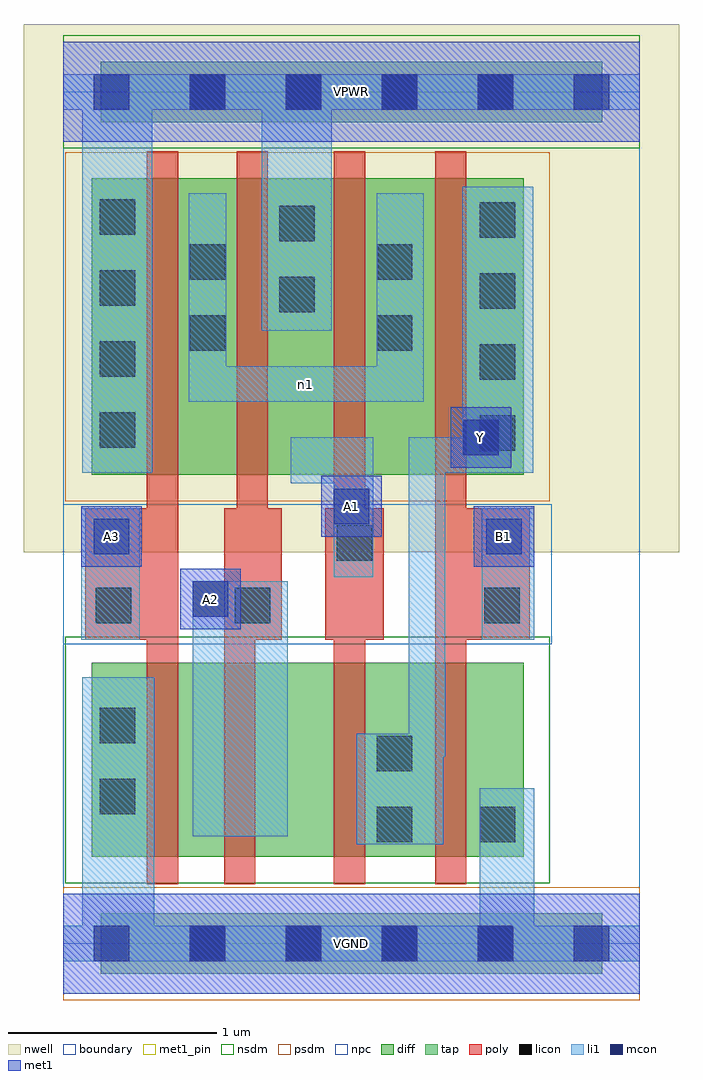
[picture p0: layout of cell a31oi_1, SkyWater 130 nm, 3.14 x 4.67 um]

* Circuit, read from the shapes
.subckt a31oi_1 A1 A2 A3 B1 VGND VPWR Y n1
XM1 n2 A3 VGND VGND sky130_fd_pr__nfet_01v8 w=0.93 l=0.15
XM2 n3 A2 n2 VGND sky130_fd_pr__nfet_01v8 w=0.93 l=0.15
XM3 Y A1 n3 VGND sky130_fd_pr__nfet_01v8 w=0.93 l=0.15
XM4 VGND B1 Y VGND sky130_fd_pr__nfet_01v8 w=0.93 l=0.15
XM5 n1 A3 VPWR VPWR sky130_fd_pr__pfet_01v8 w=1.42 l=0.15
XM6 VPWR A2 n1 VPWR sky130_fd_pr__pfet_01v8 w=1.42 l=0.15
XM7 n1 A1 VPWR VPWR sky130_fd_pr__pfet_01v8 w=1.42 l=0.15
XM8 Y B1 n1 VPWR sky130_fd_pr__pfet_01v8 w=1.42 l=0.15
.ends

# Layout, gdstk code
import gdstk
lib = gdstk.Library(unit=1e-6, precision=1e-09)
def R(c, l, rs):  # rectangles x0, y0, x1, y1
    for r in rs: c.add(gdstk.rectangle(r[:2], r[2:], *l))
def A(c, l, x, y, w, h, nx, ny, dx, dy):  # array of equal rectangles
    R(c, l, [(x+i*dx, y+j*dy, x+i*dx+w, y+j*dy+h) for i in range(nx) for j in range(ny)])
nwell = (64, 20)
diff = (65, 20)
tap = (65, 44)
poly = (66, 20)
licon = (66, 44)
li1 = (67, 20)
mcon = (67, 44)
met1_pin = (68, 16)
met1 = (68, 20)
nsdm = (93, 44)
psdm = (94, 20)
npc = (95, 20)
boundary = (235, 4)

a31oi_1 = lib.new_cell('a31oi_1')
R(a31oi_1, nwell, [(-0.19,1.875,2.95,4.405), (0,1.875,2.76,4.405)])
R(a31oi_1, diff, [(0.135,0.415,2.205,1.345), (0.135,2.245,2.205,3.665)])
R(a31oi_1, tap, [(0.18,-0.145,2.58,0.145), (0.18,3.935,2.58,4.225)])
R(a31oi_1, poly, [(0.4,0.285,0.55,3.795), (0.77,0.285,0.92,2.085), (1.295,0.285,1.445,3.795), (1.78,0.285,1.93,3.795), (0.105,1.455,0.55,2.085), (0.77,1.455,1.045,2.085), (0.83,1.455,0.98,3.795), (1.255,1.455,1.535,2.085), (1.78,1.455,2.235,2.085)])
A(a31oi_1, licon, 0.605, -0.085, 0.17, 0.17, 4, 2, 0.46, 4.08)
A(a31oi_1, licon, 1.995, 2.36, 0.17, 0.17, 1, 4, 0, 0.34)
A(a31oi_1, licon, 0.175, 2.375, 0.17, 0.17, 1, 4, 0, 0.34)
R(a31oi_1, licon, [(1.5,0.485,1.67,0.655), (1.995,0.485,2.165,0.655), (0.175,0.62,0.345,0.79), (1.5,0.825,1.67,0.995), (0.175,0.96,0.345,1.13), (0.155,1.535,0.325,1.705), (0.82,1.535,0.99,1.705), (2.015,1.535,2.185,1.705), (1.31,1.835,1.48,2.005), (0.605,2.84,0.775,3.01), (1.5,2.84,1.67,3.01), (1.035,3.025,1.205,3.195), (0.605,3.18,0.775,3.35), (1.5,3.18,1.67,3.35), (1.035,3.365,1.205,3.535)])
R(a31oi_1, li1, [(0,-0.085,2.76,0.085), (0.09,-0.085,0.435,1.275), (1.995,-0.085,2.255,0.745), (1.405,0.475,1.82,1.005), (0.62,0.515,1.075,1.735), (1.655,0.895,1.83,2.425), (0.085,1.455,0.365,2.085), (2.005,1.455,2.255,2.085), (1.295,1.755,1.485,2.425), (1.09,2.205,1.485,2.425), (0.09,2.255,0.425,4.165), (1.655,2.255,2.25,2.425), (1.91,2.255,2.25,3.625), (0.6,2.595,1.725,2.765), (0.6,2.595,0.78,3.595), (1.5,2.595,1.725,3.595), (0.95,2.935,1.285,4.165), (0,3.995,2.76,4.165)])
A(a31oi_1, mcon, 0.145, -0.085, 0.17, 0.17, 6, 2, 0.46, 4.08)
R(a31oi_1, mcon, [(0.62,1.565,0.79,1.735), (0.145,1.865,0.315,2.035), (2.025,1.865,2.195,2.035), (1.295,2.01,1.465,2.18), (1.915,2.34,2.085,2.51)])
R(a31oi_1, met1_pin, [(0,-0.24,2.76,0.24), (0.56,1.505,0.85,1.795), (0.085,1.805,0.375,2.095), (1.965,1.805,2.255,2.095), (1.235,1.95,1.525,2.24), (1.855,2.28,2.145,2.57), (0,3.84,2.76,4.32)])
R(a31oi_1, met1, [(0,-0.24,2.76,0.24), (0.56,1.505,0.85,1.795), (0.085,1.805,0.375,2.095), (1.965,1.805,2.255,2.095), (1.235,1.95,1.525,2.24), (1.855,2.28,2.145,2.57), (0,3.84,2.76,4.32)])
R(a31oi_1, nsdm, [(0.01,0.29,2.33,1.47), (0,3.81,2.76,4.35)])
R(a31oi_1, psdm, [(0,-0.27,2.76,0.27), (0.01,2.12,2.33,3.79)])
R(a31oi_1, npc, [(0,1.435,2.34,2.105)])
R(a31oi_1, boundary, [(0,0,2.76,4.08)])
a31oi_1.add(gdstk.Label('n1', (1.162,2.68), layer=67, texttype=5))
a31oi_1.add(gdstk.Label('A1', (1.38,2.095), layer=68, texttype=5))
a31oi_1.add(gdstk.Label('A2', (0.705,1.65), layer=68, texttype=5))
a31oi_1.add(gdstk.Label('A3', (0.23,1.95), layer=68, texttype=5))
a31oi_1.add(gdstk.Label('B1', (2.11,1.95), layer=68, texttype=5))
a31oi_1.add(gdstk.Label('Y', (2,2.425), layer=68, texttype=5))
a31oi_1.add(gdstk.Label('VPWR', (1.38,4.08), layer=68, texttype=5))
a31oi_1.add(gdstk.Label('VGND', (1.38,0), layer=68, texttype=5))
a31oi_1.add(gdstk.Label('A1', (1.38,2.095), layer=68, texttype=16))
a31oi_1.add(gdstk.Label('A2', (0.705,1.65), layer=68, texttype=16))
a31oi_1.add(gdstk.Label('A3', (0.23,1.95), layer=68, texttype=16))
a31oi_1.add(gdstk.Label('B1', (2.11,1.95), layer=68, texttype=16))
a31oi_1.add(gdstk.Label('Y', (2,2.425), layer=68, texttype=16))
a31oi_1.add(gdstk.Label('VPWR', (1.38,4.08), layer=68, texttype=16))
a31oi_1.add(gdstk.Label('VGND', (1.38,0), layer=68, texttype=16))

lib.write_gds('a31oi_1.gds')
